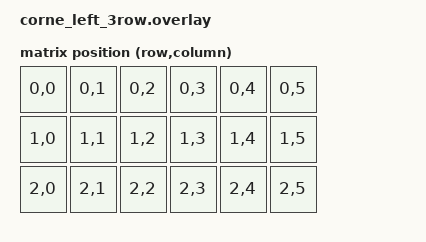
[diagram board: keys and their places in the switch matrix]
#include <dt-bindings/zmk/matrix_transform.h>

/ {
    chosen {
        zmk,matrix_transform = &matrix_transform;
    };
};

&matrix_transform {
    rows = <3>;
    columns = <6>;

    map = <
        /* Row 0 (top physical row) */
        RC(0,0) RC(0,1) RC(0,2) RC(0,3) RC(0,4) RC(0,5)

        /* Row 1 (middle physical row) */
        RC(1,0) RC(1,1) RC(1,2) RC(1,3) RC(1,4) RC(1,5)

        /* Row 2 (bottom physical row) */
        RC(2,0) RC(2,1) RC(2,2) RC(2,3) RC(2,4) RC(2,5)
    >;
};
